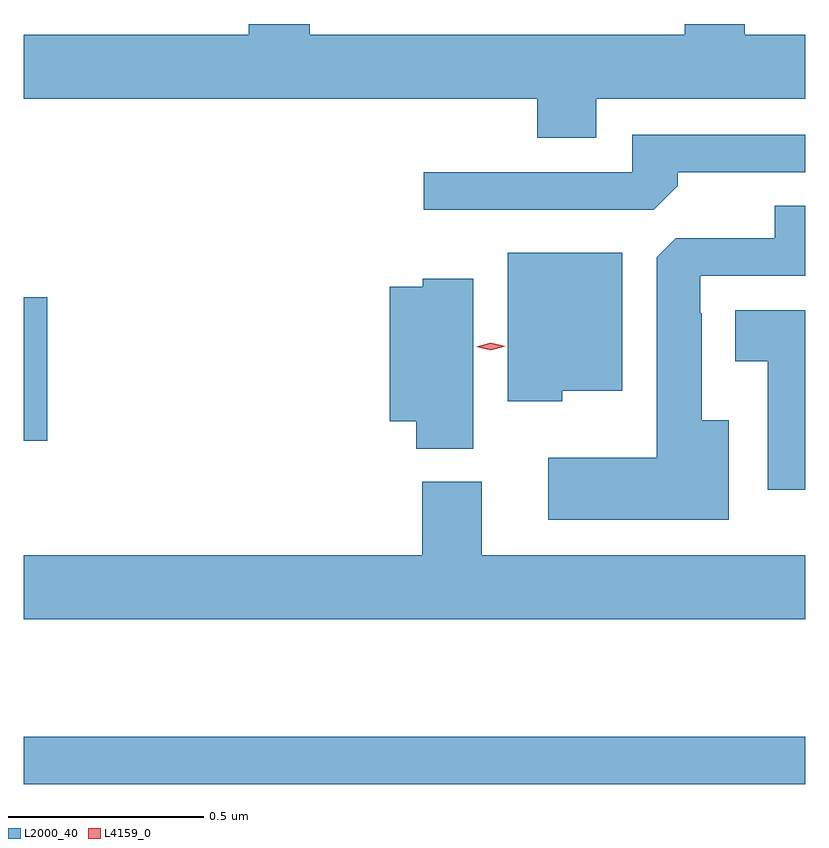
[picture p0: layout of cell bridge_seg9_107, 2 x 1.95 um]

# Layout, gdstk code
import gdstk
lib = gdstk.Library(unit=1e-6, precision=1e-09)
def R(c, l, rs):  # rectangles x0, y0, x1, y1
    for r in rs: c.add(gdstk.rectangle(r[:2], r[2:], *l))
def P(c, l, *ps):  # polygons
    for p in ps: c.add(gdstk.Polygon(p, *l))
L2000_40 = (2000, 40)
L4159_0 = (4159, 0)

bridge_seg9_107 = lib.new_cell('bridge_seg9_107')
R(bridge_seg9_107, L2000_40, [(813.473,1172.022,815.473,1172.143), (813.473,1172.901,813.533,1173.268)])
P(bridge_seg9_107, L2000_40, [(814.939,1173.776),(815.473,1173.776),(815.473,1173.94),(815.318,1173.94),(815.318,1173.968),(815.165,1173.968),(815.165,1173.94),(814.205,1173.94),(814.205,1173.968),(814.049,1173.968),(814.049,1173.94),(813.473,1173.94),(813.473,1173.776),(814.787,1173.776),(814.787,1173.677),(814.939,1173.677)],
  [(815.147,1173.554),(815.147,1173.588),(815.473,1173.588),(815.473,1173.684),(815.031,1173.684),(815.031,1173.588),(814.497,1173.588),(814.497,1173.492),(815.085,1173.492)],
  [(815.278,1172.953),(815.209,1172.953),(815.209,1173.227),(815.205,1173.227),(815.205,1173.324),(815.473,1173.324),(815.473,1173.503),(815.396,1173.503),(815.396,1173.42),(815.142,1173.42),(815.093,1173.371),(815.093,1172.857),(814.815,1172.857),(814.815,1172.699),(815.278,1172.699)],
  [(814.851,1173.029),(815.005,1173.029),(815.005,1173.382),(814.712,1173.382),(814.712,1173.002),(814.851,1173.002)],
  [(814.624,1173.316),(814.494,1173.316),(814.494,1173.295),(814.409,1173.295),(814.409,1172.951),(814.478,1172.951),(814.478,1172.881),(814.624,1172.881)],
  [(815.473,1173.235),(815.294,1173.235),(815.294,1173.104),(815.378,1173.104),(815.378,1172.775),(815.473,1172.775)],
  [(815.473,1172.608),(814.645,1172.608),(814.645,1172.796),(814.493,1172.796),(814.493,1172.608),(813.473,1172.608),(813.473,1172.444),(815.473,1172.444)])
P(bridge_seg9_107, L4159_0, [(814.668,1173.132),(814.631,1173.142),(814.631,1173.142),(814.631,1173.142),(814.668,1173.152),(814.705,1173.143),(814.705,1173.143),(814.705,1173.143)])

lib.write_gds('bridge_seg9_107.gds')
